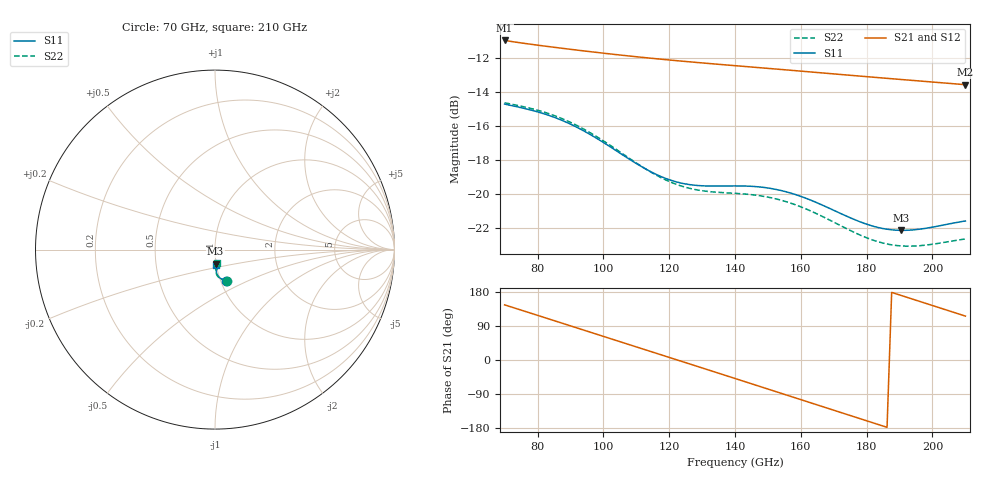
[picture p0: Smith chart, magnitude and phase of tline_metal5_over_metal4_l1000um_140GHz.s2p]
#  GHZ S DB R 50
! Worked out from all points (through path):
!   101 points, 70 GHz to 210 GHz, reference 50 ohm
!   highest |S21| = -10.97 dB at 70 GHz (marker M1); lowest = -13.6 dB at 210 GHz (marker M2)
!   group delay of S21, straight-line fit = 7.73 ps
!   lowest |S11| = -22.1 dB at 190.4 GHz (marker M3), VSWR 1.17, Z = 49.7 - j7.82 ohm
!   |S11| at or under -10 dB: start of sweep to end of sweep
!   |S22| runs from -23.1 to -14.6 dB; largest |S21 - S12| = 2.5e-13
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70  -14.70 -70.1  -10.97 145.5  -10.97 145.5  -14.63 -69.5
77  -15.01 -72.8  -11.16 126.2  -11.16 126.2  -14.91 -72.4
82.6  -15.31 -75.8  -11.31 110.7  -11.31 110.7  -15.21 -75.5
88.2  -15.72 -79.0  -11.44 95.1  -11.44 95.1  -15.62 -79.0
93.8  -16.25 -82.1  -11.58 79.6  -11.58 79.6  -16.15 -82.3
99.4  -16.89 -84.6  -11.70 64.0  -11.70 64.0  -16.79 -85.2
106.4  -17.76 -86.4  -11.85 44.6  -11.85 44.6  -17.69 -87.4
112  -18.42 -86.5  -11.96 29.1  -11.96 29.1  -18.41 -88.0
117.6  -18.97 -85.6  -12.07 13.5  -12.07 13.5  -19.03 -87.5
123.2  -19.33 -84.2  -12.17 -2.0  -12.17 -2.0  -19.49 -86.3
128.8  -19.49 -83.1  -12.27 -17.6  -12.27 -17.6  -19.76 -85.1
140  -19.51 -83.4  -12.45 -48.7  -12.45 -48.7  -19.95 -85.0
147  -19.56 -85.4  -12.56 -68.3  -12.56 -68.3  -20.07 -86.7
152.6  -19.72 -87.6  -12.65 -83.9  -12.65 -83.9  -20.28 -88.6
158.2  -20.01 -89.8  -12.74 -99.5  -12.74 -99.5  -20.61 -90.5
163.8  -20.41 -91.6  -12.83 -115.2  -12.83 -115.2  -21.05 -92.1
176.4  -21.50 -92.2  -13.04 -150.4  -13.04 -150.4  -22.26 -92.3
182  -21.88 -90.8  -13.13 -166.0  -13.13 -166.0  -22.70 -90.5
187.6  -22.09 -88.8  -13.22 178.4  -13.22 178.4  -22.98 -88.2
190.4  -22.12 -87.8  -13.26 170.6  -13.26 170.6  -23.04 -86.9
200.2  -21.93 -85.6  -13.41 143.2  -13.41 143.2  -22.93 -83.6
210  -21.57 -86.3  -13.57 115.9  -13.57 115.9  -22.63 -82.9
